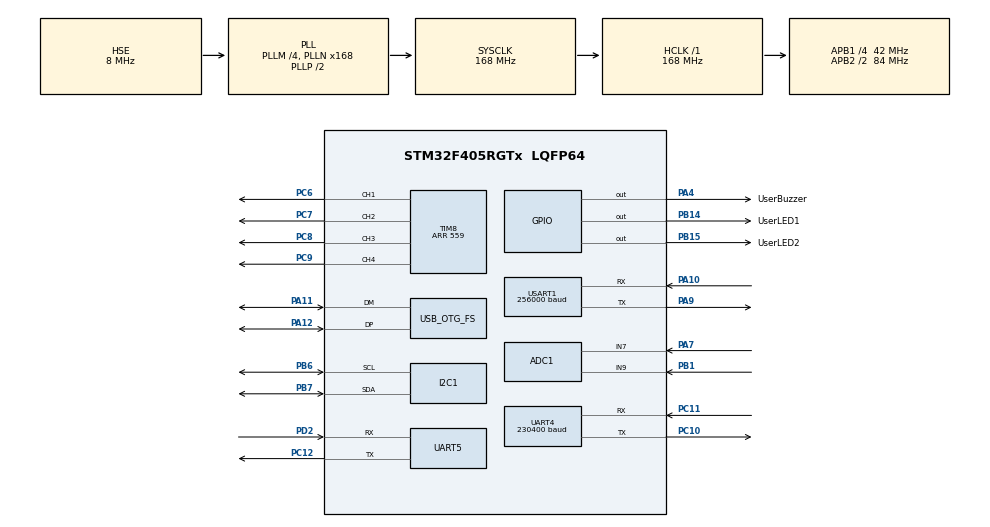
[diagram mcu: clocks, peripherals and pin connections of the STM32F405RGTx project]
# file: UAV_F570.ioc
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ADC1.Channel-0\#ChannelRegularConversion=ADC_CHANNEL_7
ADC1.Channel-1\#ChannelInjectedConversion=ADC_CHANNEL_7
ADC1.Channel-2\#ChannelRegularConversion=ADC_CHANNEL_9
ADC1.ClockPrescaler=ADC_CLOCK_SYNC_PCLK_DIV6
ADC1.ContinuousConvMode=ENABLE
ADC1.DMAContinuousRequests=ENABLE
ADC1.InjNumberOfConversion=1
ADC1.InjectedOffset-1\#ChannelInjectedConversion=0
ADC1.InjectedRank-1\#ChannelInjectedConversion=1
ADC1.NbrOfConversion=2
ADC1.NbrOfConversionFlag=1
ADC1.Rank-0\#ChannelRegularConversion=1
ADC1.Rank-2\#ChannelRegularConversion=2
ADC1.SamplingTime-0\#ChannelRegularConversion=ADC_SAMPLETIME_480CYCLES
ADC1.SamplingTime-1\#ChannelInjectedConversion=ADC_SAMPLETIME_3CYCLES
ADC1.SamplingTime-2\#ChannelRegularConversion=ADC_SAMPLETIME_480CYCLES
ADC1.ScanConvMode=ENABLE
ADC1.master=1
Dma.ADC1.4.Direction=DMA_PERIPH_TO_MEMORY
Dma.ADC1.4.FIFOMode=DMA_FIFOMODE_DISABLE
Dma.ADC1.4.Instance=DMA2_Stream0
Dma.ADC1.4.MemDataAlignment=DMA_MDATAALIGN_HALFWORD
Dma.ADC1.4.MemInc=DMA_MINC_ENABLE
Dma.ADC1.4.Mode=DMA_CIRCULAR
Dma.ADC1.4.PeriphDataAlignment=DMA_PDATAALIGN_HALFWORD
Dma.ADC1.4.PeriphInc=DMA_PINC_DISABLE
Dma.ADC1.4.Priority=DMA_PRIORITY_LOW
Dma.Request0=TIM8_CH1
Dma.Request1=TIM8_CH2
Dma.Request2=TIM8_CH3
Dma.Request3=TIM8_CH4/TRIG/COM
Dma.Request4=ADC1
Dma.Request5=UART5_RX
Dma.Request6=UART4_TX
Dma.TIM8_CH1.0.Direction=DMA_MEMORY_TO_PERIPH
Dma.TIM8_CH1.0.FIFOMode=DMA_FIFOMODE_DISABLE
Dma.TIM8_CH1.0.Instance=DMA2_Stream2
Dma.TIM8_CH1.0.MemDataAlignment=DMA_MDATAALIGN_HALFWORD
Dma.TIM8_CH1.0.MemInc=DMA_MINC_ENABLE
Dma.TIM8_CH1.0.Mode=DMA_NORMAL
Dma.TIM8_CH1.0.PeriphDataAlignment=DMA_PDATAALIGN_HALFWORD
Dma.TIM8_CH1.0.PeriphInc=DMA_PINC_DISABLE
Dma.TIM8_CH1.0.Priority=DMA_PRIORITY_LOW
Dma.TIM8_CH2.1.Direction=DMA_MEMORY_TO_PERIPH
Dma.TIM8_CH2.1.FIFOMode=DMA_FIFOMODE_DISABLE
Dma.TIM8_CH2.1.Instance=DMA2_Stream3
Dma.TIM8_CH2.1.MemDataAlignment=DMA_MDATAALIGN_HALFWORD
Dma.TIM8_CH2.1.MemInc=DMA_MINC_ENABLE
Dma.TIM8_CH2.1.Mode=DMA_NORMAL
Dma.TIM8_CH2.1.PeriphDataAlignment=DMA_PDATAALIGN_HALFWORD
Dma.TIM8_CH2.1.PeriphInc=DMA_PINC_DISABLE
Dma.TIM8_CH2.1.Priority=DMA_PRIORITY_LOW
Dma.TIM8_CH3.2.Direction=DMA_MEMORY_TO_PERIPH
Dma.TIM8_CH3.2.FIFOMode=DMA_FIFOMODE_DISABLE
Dma.TIM8_CH3.2.Instance=DMA2_Stream4
Dma.TIM8_CH3.2.MemDataAlignment=DMA_MDATAALIGN_HALFWORD
Dma.TIM8_CH3.2.MemInc=DMA_MINC_ENABLE
Dma.TIM8_CH3.2.Mode=DMA_NORMAL
Dma.TIM8_CH3.2.PeriphDataAlignment=DMA_PDATAALIGN_HALFWORD
Dma.TIM8_CH3.2.PeriphInc=DMA_PINC_DISABLE
Dma.TIM8_CH3.2.Priority=DMA_PRIORITY_LOW
Dma.TIM8_CH4/TRIG/COM.3.Direction=DMA_MEMORY_TO_PERIPH
Dma.TIM8_CH4/TRIG/COM.3.FIFOMode=DMA_FIFOMODE_DISABLE
Dma.TIM8_CH4/TRIG/COM.3.Instance=DMA2_Stream7
Dma.TIM8_CH4/TRIG/COM.3.MemDataAlignment=DMA_MDATAALIGN_HALFWORD
Dma.TIM8_CH4/TRIG/COM.3.MemInc=DMA_MINC_ENABLE
Dma.TIM8_CH4/TRIG/COM.3.Mode=DMA_NORMAL
Dma.TIM8_CH4/TRIG/COM.3.PeriphDataAlignment=DMA_PDATAALIGN_HALFWORD
Dma.TIM8_CH4/TRIG/COM.3.PeriphInc=DMA_PINC_DISABLE
Dma.TIM8_CH4/TRIG/COM.3.Priority=DMA_PRIORITY_LOW
Dma.UART4_TX.6.Direction=DMA_MEMORY_TO_PERIPH
Dma.UART4_TX.6.FIFOMode=DMA_FIFOMODE_DISABLE
Dma.UART4_TX.6.Instance=DMA1_Stream4
Dma.UART4_TX.6.MemDataAlignment=DMA_MDATAALIGN_BYTE
Dma.UART4_TX.6.MemInc=DMA_MINC_ENABLE
Dma.UART4_TX.6.Mode=DMA_NORMAL
Dma.UART4_TX.6.PeriphDataAlignment=DMA_PDATAALIGN_BYTE
Dma.UART4_TX.6.PeriphInc=DMA_PINC_DISABLE
Dma.UART4_TX.6.Priority=DMA_PRIORITY_LOW
Dma.UART5_RX.5.Direction=DMA_PERIPH_TO_MEMORY
Dma.UART5_RX.5.FIFOMode=DMA_FIFOMODE_DISABLE
Dma.UART5_RX.5.Instance=DMA1_Stream0
Dma.UART5_RX.5.MemDataAlignment=DMA_MDATAALIGN_BYTE
Dma.UART5_RX.5.MemInc=DMA_MINC_ENABLE
Dma.UART5_RX.5.Mode=DMA_NORMAL
Dma.UART5_RX.5.PeriphDataAlignment=DMA_PDATAALIGN_BYTE
Dma.UART5_RX.5.PeriphInc=DMA_PINC_DISABLE
Dma.UART5_RX.5.Priority=DMA_PRIORITY_LOW
FREERTOS.Tasks01=defaultTask,32,128,StartDefaultTask,Default,NULL,Dynamic,NULL,NULL
FREERTOS.configCHECK_FOR_STACK_OVERFLOW=2
FREERTOS.configENABLE_FPU=1
FREERTOS.configGENERATE_RUN_TIME_STATS=1
FREERTOS.configTOTAL_HEAP_SIZE=51200
FREERTOS.configUSE_IDLE_HOOK=1
FREERTOS.configUSE_MALLOC_FAILED_HOOK=1
FREERTOS.configUSE_STATS_FORMATTING_FUNCTIONS=1
I2C1.I2C_Mode=I2C_Fast
Mcu.Family=STM32F4
Mcu.Name=STM32F405RGTx
Mcu.Package=LQFP64
NVIC.DMA1_Stream0_IRQn=true\:5\:0\:false\:false\:true\:true\:false\:true\:true
NVIC.DMA1_Stream4_IRQn=true\:5\:0\:false\:false\:true\:true\:false\:true\:true
NVIC.DMA2_Stream0_IRQn=true\:5\:0\:false\:false\:true\:true\:false\:true\:true
NVIC.DMA2_Stream2_IRQn=true\:5\:0\:false\:false\:true\:true\:false\:true\:true
NVIC.DMA2_Stream3_IRQn=true\:5\:0\:false\:false\:true\:true\:false\:true\:true
NVIC.DMA2_Stream4_IRQn=true\:5\:0\:false\:false\:true\:true\:false\:true\:true
NVIC.DMA2_Stream7_IRQn=true\:5\:0\:false\:false\:true\:true\:false\:true\:true
NVIC.OTG_FS_IRQn=true\:5\:0\:false\:false\:true\:true\:false\:true\:true
NVIC.PriorityGroup=NVIC_PRIORITYGROUP_4
NVIC.TIM7_IRQn=true\:15\:0\:true\:false\:true\:false\:false\:true\:true
NVIC.TimeBase=TIM7_IRQn
NVIC.TimeBaseIP=TIM7
NVIC.UART4_IRQn=true\:5\:0\:false\:false\:true\:true\:true\:true\:true
NVIC.UART5_IRQn=true\:5\:0\:false\:false\:true\:true\:true\:true\:true
NVIC.USART1_IRQn=true\:5\:0\:false\:false\:true\:true\:true\:true\:true
PA10.Mode=Asynchronous
PA10.Signal=USART1_RX
PA11.Mode=Host_Only
PA11.Signal=USB_OTG_FS_DM
PA12.Mode=Host_Only
PA12.Signal=USB_OTG_FS_DP
PA13.Mode=Serial_Wire
PA13.Signal=SYS_JTMS-SWDIO
PA14.Mode=Serial_Wire
PA14.Signal=SYS_JTCK-SWCLK
PA4.GPIO_Label=UserBuzzer
PA4.Signal=GPIO_Output
PA7.Signal=ADCx_IN7
PA9.Mode=Asynchronous
PA9.Signal=USART1_TX
PB1.Signal=ADCx_IN9
PB14.GPIO_Label=UserLED1
PB14.PinState=GPIO_PIN_SET
PB14.Signal=GPIO_Output
PB15.GPIO_Label=UserLED2
PB15.PinState=GPIO_PIN_SET
PB15.Signal=GPIO_Output
PB6.Mode=I2C
PB6.Signal=I2C1_SCL
PB7.Mode=I2C
PB7.Signal=I2C1_SDA
PC10.Mode=Asynchronous
PC10.Signal=UART4_TX
PC11.Mode=Asynchronous
PC11.Signal=UART4_RX
PC12.Mode=Asynchronous
PC12.Signal=UART5_TX
PC6.Signal=S_TIM8_CH1
PC7.Signal=S_TIM8_CH2
PC8.Signal=S_TIM8_CH3
PC9.Signal=S_TIM8_CH4
PD2.Mode=Asynchronous
PD2.Signal=UART5_RX
PH0-OSC_IN.Mode=HSE-External-Oscillator
PH0-OSC_IN.Signal=RCC_OSC_IN
PH1-OSC_OUT.Mode=HSE-External-Oscillator
PH1-OSC_OUT.Signal=RCC_OSC_OUT
ProjectManager.HeapSize=0x200
ProjectManager.StackSize=0x400
ProjectManager.TargetToolchain=MDK-ARM V5.32
RCC.48MHZClocksFreq_Value=48000000
RCC.AHBFreq_Value=168000000
RCC.APB1CLKDivider=RCC_HCLK_DIV4
RCC.APB1Freq_Value=42000000
RCC.APB1TimFreq_Value=84000000
RCC.APB2CLKDivider=RCC_HCLK_DIV2
RCC.APB2Freq_Value=84000000
RCC.APB2TimFreq_Value=168000000
RCC.CortexFreq_Value=168000000
RCC.HCLKFreq_Value=168000000
RCC.HSE_VALUE=8000000
RCC.HSI_VALUE=16000000
RCC.LSE_VALUE=32768
RCC.PLLM=4
RCC.PLLN=168
RCC.PLLQ=7
RCC.SYSCLKFreq_VALUE=168000000
RCC.SYSCLKSource=RCC_SYSCLKSOURCE_PLLCLK
RCC.VCOOutputFreq_Value=336000000
SH.ADCx_IN7.0=ADC1_IN7,IN7
SH.ADCx_IN9.0=ADC1_IN9,IN9
SH.S_TIM8_CH1.0=TIM8_CH1,PWM Generation1 CH1
SH.S_TIM8_CH2.0=TIM8_CH2,PWM Generation2 CH2
SH.S_TIM8_CH3.0=TIM8_CH3,PWM Generation3 CH3
SH.S_TIM8_CH4.0=TIM8_CH4,PWM Generation4 CH4
TIM6.Prescaler=839
TIM8.Channel-PWM\ Generation1\ CH1=TIM_CHANNEL_1
TIM8.Channel-PWM\ Generation2\ CH2=TIM_CHANNEL_2
TIM8.Channel-PWM\ Generation3\ CH3=TIM_CHANNEL_3
TIM8.Channel-PWM\ Generation4\ CH4=TIM_CHANNEL_4
TIM8.Period=559
UART4.BaudRate=230400
UART4.VirtualMode=Asynchronous
UART5.VirtualMode=Asynchronous
USART1.BaudRate=256000
USART1.VirtualMode=VM_ASYNC
USB_HOST.SW_VBUS_DRIVE_HID_FS=true
USB_HOST.USBH_DEBUG_LEVEL-HID_FS=0
USB_HOST.USBH_HandleTypeDef-HID_FS=hUsbHostFS
USB_HOST.USBH_MAX_DATA_BUFFER-HID_FS=1024
USB_HOST.USBH_MAX_NUM_SUPPORTED_CLASS-HID_FS=2
USB_HOST.USBH_PROCESS_STACK_SIZE-HID_FS=1024
USB_HOST.VirtualModeFS=Hid
USB_OTG_FS.VirtualMode=Host_Only
USB_OTG_FS.phy_itface=HCD_PHY_EMBEDDED
VP_FREERTOS_VS_CMSIS_V2.Mode=CMSIS_V2
VP_SYS_VS_tim7.Mode=TIM7
VP_TIM6_VS_ClockSourceINT.Mode=Enable_Timer
VP_TIM8_VS_ClockSourceINT.Mode=Internal
VP_USB_HOST_VS_USB_HOST_HID_FS.Mode=HID_FS
board=custom

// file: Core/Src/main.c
/* USER CODE BEGIN Header */
/**
  ******************************************************************************
  * @file           : main.c
  * @brief          : Main program body
  ******************************************************************************
  * @attention
  *
  * Copyright (c) 2026 STMicroelectronics.
  * All rights reserved.
  *
  * This software is licensed under terms that can be found in the LICENSE file
  * in the root directory of this software component.
  * If no LICENSE file comes with this software, it is provided AS-IS.
  *
  ******************************************************************************
  */
/* USER CODE END Header */
#include "main.h"
#include "cmsis_os.h"
#include "adc.h"
#include "dma.h"
#include "i2c.h"
#include "tim.h"
#include "usart.h"
#include "usb_host.h"
#include "gpio.h"

/* USER CODE BEGIN Includes */
#include <stdio.h>

#include "bsp_imu.h"
#include "bsp_adc.h"
/* USER CODE END Includes */

/* USER CODE BEGIN PTD */
uint8_t uart4_recv;

uint8_t uart1_recv;
/* USER CODE END PTD */

void SystemClock_Config(void);
void MX_FREERTOS_Init(void);

int main(void)
{

  /* MCU Configuration--------------------------------------------------------*/

  /* Reset of all peripherals, Initializes the Flash interface and the Systick. */
  HAL_Init();

  /* Configure the system clock */
  SystemClock_Config();

  /* Initialize all configured peripherals */
  MX_GPIO_Init();
  MX_DMA_Init();
  MX_USART1_UART_Init();
  MX_UART4_Init();
  MX_UART5_Init();
  MX_TIM6_Init();
  MX_TIM8_Init();
  MX_ADC1_Init();
  MX_I2C1_Init();
  /* USER CODE BEGIN 2 */
	HAL_UART_Receive_IT(&huart1,&uart1_recv,1);
	HAL_UART_Receive_IT(&huart4,&uart4_recv,1);

//	uint8_t iic_recv = 0xff;
//	HAL_I2C_Mem_Read(&hi2c1,0x68 << 1,0x00,I2C_MEMADD_SIZE_8BIT,&iic_recv,1,500);
//	printf("0x%2X\r\n",iic_recv);
	//�û����Զ�ʱ��
	HAL_TIM_Base_Start(&htim6);
	//ʹ��Ӳ��IICʱ��Ҫ
	//���Ӳ��IIC�Ƿ����BUSY�쳣
	if( (I2C1->SR2>>1)&0x01 )
	{
		HAL_I2C_MspDeInit(&hi2c1);

		//��IIC����ǿ���ͷ�
		GPIO_InitTypeDef GPIO_InitStruct = {0};
		GPIO_InitStruct.Pin = GPIO_PIN_6|GPIO_PIN_7;
		GPIO_InitStruct.Mode = GPIO_MODE_OUTPUT_PP;
		GPIO_InitStruct.Pull = GPIO_PULLUP;
		GPIO_InitStruct.Speed = GPIO_SPEED_FREQ_LOW;
		HAL_GPIO_Init(GPIOB, &GPIO_InitStruct);
		HAL_GPIO_WritePin(GPIOB,GPIO_PIN_6,GPIO_PIN_SET);
		HAL_GPIO_WritePin(GPIOB,GPIO_PIN_7,GPIO_PIN_SET);

		//���³�ʼ��IIC
		I2C1->CR1 &= ~(1<<0);//��ֹIIC����
		HAL_Delay(50);
		I2C1->CR1 |= (1<<0);//����ʹ��
		I2C1->CR1 |= (1<<15);//���������λ
		HAL_Delay(50);
		I2C1->CR1 &= ~(1<<15);
		MX_I2C1_Init();
	}
	//init imc209848
	pIMUInterface_t imu = &UserICM20948;
	while(imu->Init())
	{
		HAL_Delay(60);
		HAL_GPIO_TogglePin(UserLED1_GPIO_Port,UserLED1_Pin);
		NVIC_SystemReset();
	}

	//电流与电压采集初始化
	pADCInterface_t adc = &UserADC1;
	adc->init();

  /* USER CODE END 2 */

  /* Init scheduler */
  osKernelInitialize();

  /* Call init function for freertos objects (in cmsis_os2.c) */
  MX_FREERTOS_Init();

  /* Start scheduler */
  osKernelStart();

  /* We should never get here as control is now taken by the scheduler */

  /* Infinite loop */
  while (1)
  {

  }
}

void SystemClock_Config(void)
{
  RCC_OscInitTypeDef RCC_OscInitStruct = {0};
  RCC_ClkInitTypeDef RCC_ClkInitStruct = {0};

  /** Configure the main internal regulator output voltage
  */
  __HAL_RCC_PWR_CLK_ENABLE();
  __HAL_PWR_VOLTAGESCALING_CONFIG(PWR_REGULATOR_VOLTAGE_SCALE1);

  /** Initializes the RCC Oscillators according to the specified parameters
  * in the RCC_OscInitTypeDef structure.
  */
  RCC_OscInitStruct.OscillatorType = RCC_OSCILLATORTYPE_HSE;
  RCC_OscInitStruct.HSEState = RCC_HSE_ON;
  RCC_OscInitStruct.PLL.PLLState = RCC_PLL_ON;
  RCC_OscInitStruct.PLL.PLLSource = RCC_PLLSOURCE_HSE;
  RCC_OscInitStruct.PLL.PLLM = 4;
  RCC_OscInitStruct.PLL.PLLN = 168;
  RCC_OscInitStruct.PLL.PLLP = RCC_PLLP_DIV2;
  RCC_OscInitStruct.PLL.PLLQ = 7;
  if (HAL_RCC_OscConfig(&RCC_OscInitStruct) != HAL_OK)
  {
    Error_Handler();
  }

  /** Initializes the CPU, AHB and APB buses clocks
  */
  RCC_ClkInitStruct.ClockType = RCC_CLOCKTYPE_HCLK|RCC_CLOCKTYPE_SYSCLK
                              |RCC_CLOCKTYPE_PCLK1|RCC_CLOCKTYPE_PCLK2;
  RCC_ClkInitStruct.SYSCLKSource = RCC_SYSCLKSOURCE_PLLCLK;
  RCC_ClkInitStruct.AHBCLKDivider = RCC_SYSCLK_DIV1;
  RCC_ClkInitStruct.APB1CLKDivider = RCC_HCLK_DIV4;
  RCC_ClkInitStruct.APB2CLKDivider = RCC_HCLK_DIV2;

  if (HAL_RCC_ClockConfig(&RCC_ClkInitStruct, FLASH_LATENCY_5) != HAL_OK)
  {
    Error_Handler();
  }
}

/* USER CODE BEGIN 4 */
UART_HandleTypeDef *DebugSerial = &huart1;

//print ??
#if 1
int fputc(int ch,FILE* stream)
{
	while(HAL_OK != HAL_UART_Transmit(DebugSerial,(const uint8_t*)&ch,1,100));
	return ch;
}
#endif

#if 0
int fputc(int ch, FILE* stream)
{
    for (int retry = 0; retry < 3; retry++) {
        if (HAL_UART_Transmit(&huart1, (uint8_t*)&ch, 1, 100) == HAL_OK)
            return ch;
    }
    return EOF;   // ?????
}
#endif
/* USER CODE END 4 */

void HAL_TIM_PeriodElapsedCallback(TIM_HandleTypeDef *htim)
{
  if (htim->Instance == TIM7)
  {
    HAL_IncTick();
  }
}

void Error_Handler(void)
{
  __disable_irq();
  while (1)
  {
  }
}

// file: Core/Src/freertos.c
/* USER CODE BEGIN Header */
/**
  ******************************************************************************
  * File Name          : freertos.c
  * Description        : Code for freertos applications
  ******************************************************************************
  * @attention
  *
  * Copyright (c) 2026 STMicroelectronics.
  * All rights reserved.
  *
  * This software is licensed under terms that can be found in the LICENSE file
  * in the root directory of this software component.
  * If no LICENSE file comes with this software, it is provided AS-IS.
  *
  ******************************************************************************
  */
/* USER CODE END Header */

#include "FreeRTOS.h"
#include "task.h"
#include "main.h"
#include "cmsis_os.h"

/* USER CODE BEGIN Includes */

//FreeRTOS Include File
#include "queue.h"

#include "queue.h"
#include "semphr.h"
#include "event_groups.h"
#include <stdio.h>
#include "tim.h"
#include "usart.h"

//BSP Include File
#include "bsp_stp23L.h"
/* USER CODE END Includes */

/* USER CODE BEGIN PD */
#define userconfig_OPEN_CPU_USAGE_CHECK 0
#define userconfig_OPEN_STACK_CHECK 0
#define userconfig_OPEN_CHECK_HEAPSIZE 0
/* USER CODE END PD */

/* USER CODE BEGIN Variables */
xQueueHandle g_xQueuestp23L_Ori=NULL;//存放STP23L原始数据

xSemaphoreHandle HandleMutex_printf;
/* USER CODE END Variables */
/* Definitions for defaultTask */
osThreadId_t defaultTaskHandle;
const osThreadAttr_t defaultTask_attributes = {
  .name = "defaultTask",
  .stack_size = 128 * 4,
  .priority = (osPriority_t) osPriorityAboveNormal,
};

/* USER CODE BEGIN FunctionPrototypes */
//RTOSϵͳ�������
#if ( 1 == userconfig_OPEN_CPU_USAGE_CHECK ) || ( 1 == userconfig_OPEN_STACK_CHECK ) || ( 1 == userconfig_OPEN_CHECK_HEAPSIZE )
void CpuUsageCheckTask(void *param);
#endif

void StartDefaultTask(void *argument);
void Balance_Task(void *param);
void ShowTask(void *param);
void STP23L_Task(void *param);
/* USER CODE END FunctionPrototypes */

void StartDefaultTask(void *argument);

extern void MX_USB_HOST_Init(void);
void MX_FREERTOS_Init(void); /* (MISRA C 2004 rule 8.1) */

/* Hook prototypes */
void configureTimerForRunTimeStats(void);
unsigned long getRunTimeCounterValue(void);
void vApplicationIdleHook(void);
void vApplicationStackOverflowHook(xTaskHandle xTask, signed char *pcTaskName);
void vApplicationMallocFailedHook(void);

/* USER CODE BEGIN 1 */
/* Functions needed when configGENERATE_RUN_TIME_STATS is on */
__weak void configureTimerForRunTimeStats(void)
{
		HAL_TIM_Base_Start(&htim6);
		//TIM6->CNT = 0;
}

__weak unsigned long getRunTimeCounterValue(void)
{
	#if 1
	static unsigned long time = 0 ;
	static uint16_t lasttime = 0;
	static uint16_t nowtime = 0;

	nowtime = TIM6->CNT; //��õ�ǰ����ֵ

	//������μ���ֵС���ϴμ���ֵ��˵�������˶�ʱ���������
	if( nowtime < lasttime )
	{
		time += (nowtime + 0xffff - lasttime); //������ʱ������
	}
	else time += ( nowtime - lasttime ) ; //δ�������������Ϊ����ʱ��-�ϴ�ʱ��

	lasttime = nowtime;

	return time;
	#endif
	//return 0;
}
/* USER CODE END 1 */

/* USER CODE BEGIN 2 */
void vApplicationIdleHook( void )
{
   /* vApplicationIdleHook() will only be called if configUSE_IDLE_HOOK is set
   to 1 in FreeRTOSConfig.h. It will be called on each iteration of the idle
   task. It is essential that code added to this hook function never attempts
   to block in any way (for example, call xQueueReceive() with a block time
   specified, or call vTaskDelay()). If the application makes use of the
   vTaskDelete() API function (as this demo application does) then it is also
   important that vApplicationIdleHook() is permitted to return to its calling
   function, because it is the responsibility of the idle task to clean up
   memory allocated by the kernel to any task that has since been deleted. */
}
/* USER CODE END 2 */

/* USER CODE BEGIN 4 */
void vApplicationStackOverflowHook(xTaskHandle xTask, signed char *pcTaskName)
{
   /* Run time stack overflow checking is performed if
   configCHECK_FOR_STACK_OVERFLOW is defined to 1 or 2. This hook function is
   called if a stack overflow is detected. */
	//printf("%s stack overflow\r\n",pcTaskName);
	  // ???????????(??,????)
  char *str = "Stack Overflow!\r\n";
  while(*str)
  {
    while(!(USART1->SR & UART_FLAG_TXE));
    USART1->DR = (uint8_t)*str++;
  }
  while(1);
}
/* USER CODE END 4 */

/* USER CODE BEGIN 5 */
void vApplicationMallocFailedHook(void)
{
   /* vApplicationMallocFailedHook() will only be called if
   configUSE_MALLOC_FAILED_HOOK is set to 1 in FreeRTOSConfig.h. It is a hook
   function that will get called if a call to pvPortMalloc() fails.
   pvPortMalloc() is called internally by the kernel whenever a task, queue,
   timer or semaphore is created. It is also called by various parts of the
   demo application. If heap_1.c or heap_2.c are used, then the size of the
   heap available to pvPortMalloc() is defined by configTOTAL_HEAP_SIZE in
   FreeRTOSConfig.h, and the xPortGetFreeHeapSize() API function can be used
   to query the size of free heap space that remains (although it does not
   provide information on how the remaining heap might be fragmented). */
	//printf("Malloc Faile,check total heap size config\r\n");
	  // ???????????(??,????)
  char *str = "Malloc Faile,check total heap size config\r\n";
  while(*str)
  {
    while(!(USART1->SR & UART_FLAG_TXE));
    USART1->DR = (uint8_t)*str++;
  }
  while(1);
}
/* USER CODE END 5 */

void MX_FREERTOS_Init(void) {
  /* USER CODE BEGIN Init */
	 static uint16_t delaytime = 5000;//打印时间间隔，单位tick
  /* USER CODE END Init */

  /* USER CODE BEGIN RTOS_MUTEX */
  /* add mutexes, ... */
		HandleMutex_printf = xSemaphoreCreateMutex();

  /* USER CODE END RTOS_MUTEX */

  /* USER CODE BEGIN RTOS_QUEUES */
	g_xQueuestp23L_Ori = xQueueCreate(3,sizeof(OriData_STP23L_t));
  /* add queues, ... */
  /* USER CODE END RTOS_QUEUES */

  /* Create the thread(s) */
  /* creation of defaultTask */
  defaultTaskHandle = osThreadNew(StartDefaultTask, NULL, &defaultTask_attributes);

  /* USER CODE BEGIN RTOS_THREADS */
  /* add threads, ... */

	//balance task
	xTaskCreate(Balance_Task,"balance",128*4,NULL,osPriorityNormal,NULL);

	xTaskCreate(ShowTask,"showtask",128*4,NULL,osPriorityBelowNormal7,NULL);

	xTaskCreate(STP23L_Task,"STP32L",128 * 2,NULL,osPriorityNormal,NULL);
	//调试任务
	#if ( 1 == userconfig_OPEN_CPU_USAGE_CHECK ) || ( 1 == userconfig_OPEN_STACK_CHECK ) || ( 1 == userconfig_OPEN_CHECK_HEAPSIZE )

	 xTaskCreate(CpuUsageCheckTask,"DebugTask",512, &delaytime ,osPriorityAboveNormal,NULL);
	#endif

  /* USER CODE END RTOS_THREADS */

}

void StartDefaultTask(void *argument)
{
  /* init code for USB_HOST */
  MX_USB_HOST_Init();
  /* USER CODE BEGIN StartDefaultTask */
  /* Infinite loop */

	//启动DMA
	HAL_UARTEx_ReceiveToIdle_DMA(&huart5,DMABuf_oridata_stp23L.Buf,userconfig_STP23L_DMABUF_LEN);

  for(;;)
  {
		HAL_GPIO_TogglePin(UserLED1_GPIO_Port,UserLED1_Pin);
		HAL_GPIO_TogglePin(UserLED2_GPIO_Port,UserLED2_Pin);
		#if 0
		char *str = "LED On Or LED Off!\r\n";
		while(*str)
		{
			while(!(USART1->SR & UART_FLAG_TXE));
			USART1->DR = (uint8_t)*str++;
		}
		#endif
		//while(1);
		vTaskDelay(pdMS_TO_TICKS(500));
  }
  /* USER CODE END StartDefaultTask */
}

/* USER CODE BEGIN Application */
#if ( 1 == userconfig_OPEN_CPU_USAGE_CHECK ) || ( 1 == userconfig_OPEN_STACK_CHECK ) || ( 1 == userconfig_OPEN_CHECK_HEAPSIZE )
void CpuUsageCheckTask(void *param)
{
	uint16_t* delaytime = (uint16_t*)param;
	static char showbuf[500];

	while( 1 )
	{
#if 1 == userconfig_OPEN_CPU_USAGE_CHECK
		vTaskGetRunTimeStats(showbuf);
		xSemaphoreTake(HandleMutex_printf,portMAX_DELAY);
		printf("TaskName\tUseTime\tCPU\r\n");
		printf("%s\r\n",showbuf);
		xSemaphoreGive(HandleMutex_printf); // ????!
#endif

#if 1 == userconfig_OPEN_STACK_CHECK
		vTaskList(showbuf);
		xSemaphoreTake(HandleMutex_printf,portMAX_DELAY);
		printf("TaskName\tTaskState\tTaskPrio\tStackSize\tTaskNum\r\n");
		printf("%s\r\n",showbuf);
		xSemaphoreGive(HandleMutex_printf);
#endif

#if 1 == userconfig_OPEN_CHECK_HEAPSIZE
		xSemaphoreTake(HandleMutex_printf,portMAX_DELAY);
		printf("free heap size : %d bytes\r\n\r\n",xPortGetFreeHeapSize());
		xSemaphoreGive(HandleMutex_printf);
#endif
		// ?????????!!!
		vTaskDelay(*delaytime);
	}
}
#endif
/* USER CODE END Application */
